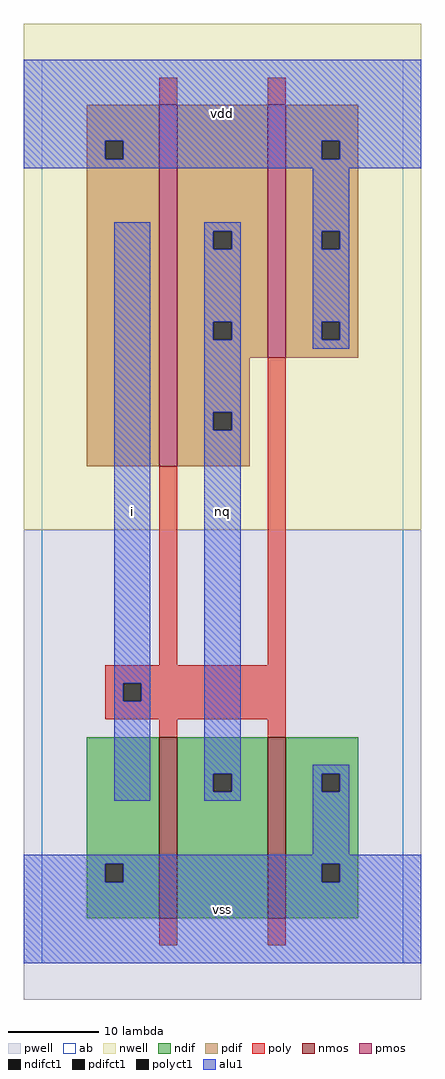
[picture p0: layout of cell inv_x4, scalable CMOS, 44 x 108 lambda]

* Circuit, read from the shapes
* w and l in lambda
.subckt inv_x4 i nq vdd vss
M1 nq i vss VSUBS nfet w=20 l=2 m=2
M2 nq i vdd n1 pfet w=40 l=2
M3 vdd i nq n1 pfet w=28 l=2
.ends

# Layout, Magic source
magic
tech scmos
<< ab >>
rect 0 0 40 100
<< nwell >>
rect -2 48 42 104
<< pwell >>
rect -2 -4 42 48
<< poly >>
rect 13 95 15 98
rect 25 95 27 98
rect 13 33 15 55
rect 25 33 27 67
rect 7 31 27 33
rect 7 29 9 31
rect 11 29 27 31
rect 7 27 27 29
rect 13 25 15 27
rect 25 25 27 27
rect 13 2 15 5
rect 25 2 27 5
<< ndif >>
rect 5 11 13 25
rect 5 9 7 11
rect 9 9 13 11
rect 5 5 13 9
rect 15 21 25 25
rect 15 19 19 21
rect 21 19 25 21
rect 15 5 25 19
rect 27 21 35 25
rect 27 19 31 21
rect 33 19 35 21
rect 27 11 35 19
rect 27 9 31 11
rect 33 9 35 11
rect 27 5 35 9
<< pdif >>
rect 5 91 13 95
rect 5 89 7 91
rect 9 89 13 91
rect 5 55 13 89
rect 15 81 25 95
rect 15 79 19 81
rect 21 79 25 81
rect 15 71 25 79
rect 15 69 19 71
rect 21 69 25 71
rect 15 67 25 69
rect 27 91 35 95
rect 27 89 31 91
rect 33 89 35 91
rect 27 81 35 89
rect 27 79 31 81
rect 33 79 35 81
rect 27 71 35 79
rect 27 69 31 71
rect 33 69 35 71
rect 27 67 35 69
rect 15 61 23 67
rect 15 59 19 61
rect 21 59 23 61
rect 15 55 23 59
<< alu1 >>
rect -2 91 42 100
rect -2 89 7 91
rect 9 89 31 91
rect 33 89 42 91
rect -2 88 42 89
rect 8 31 12 82
rect 8 29 9 31
rect 11 29 12 31
rect 8 18 12 29
rect 18 81 22 82
rect 18 79 19 81
rect 21 79 22 81
rect 18 71 22 79
rect 18 69 19 71
rect 21 69 22 71
rect 18 61 22 69
rect 30 81 34 88
rect 30 79 31 81
rect 33 79 34 81
rect 30 71 34 79
rect 30 69 31 71
rect 33 69 34 71
rect 30 68 34 69
rect 18 59 19 61
rect 21 59 22 61
rect 18 21 22 59
rect 18 19 19 21
rect 21 19 22 21
rect 18 18 22 19
rect 30 21 34 22
rect 30 19 31 21
rect 33 19 34 21
rect 30 12 34 19
rect -2 11 42 12
rect -2 9 7 11
rect 9 9 31 11
rect 33 9 42 11
rect -2 0 42 9
<< nmos >>
rect 13 5 15 25
rect 25 5 27 25
<< pmos >>
rect 13 55 15 95
rect 25 67 27 95
<< polyct1 >>
rect 9 29 11 31
<< ndifct1 >>
rect 7 9 9 11
rect 19 19 21 21
rect 31 19 33 21
rect 31 9 33 11
<< pdifct1 >>
rect 7 89 9 91
rect 19 79 21 81
rect 19 69 21 71
rect 31 89 33 91
rect 31 79 33 81
rect 31 69 33 71
rect 19 59 21 61
<< labels >>
rlabel alu1 10 50 10 50 6 i
rlabel alu1 20 6 20 6 6 vss
rlabel alu1 20 50 20 50 6 nq
rlabel alu1 20 94 20 94 6 vdd
<< end >>
